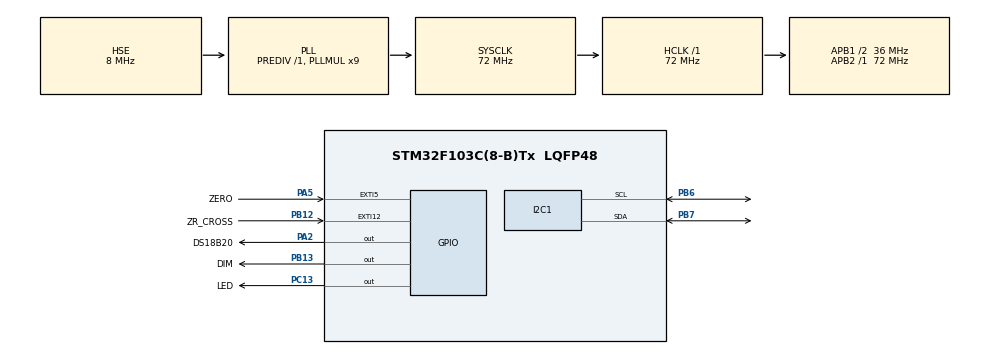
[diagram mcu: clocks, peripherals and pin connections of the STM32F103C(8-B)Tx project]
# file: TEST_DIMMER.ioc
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Mcu.Family=STM32F1
Mcu.Name=STM32F103C(8-B)Tx
Mcu.Package=LQFP48
NVIC.EXTI15_10_IRQn=true\:0\:0\:false\:false\:true\:true\:true\:true
NVIC.EXTI9_5_IRQn=true\:0\:0\:false\:false\:true\:true\:true\:true
NVIC.I2C1_ER_IRQn=true\:0\:0\:false\:false\:true\:true\:true\:true
NVIC.I2C1_EV_IRQn=true\:0\:0\:false\:false\:true\:true\:true\:true
NVIC.PriorityGroup=NVIC_PRIORITYGROUP_4
NVIC.TIM2_IRQn=true\:0\:0\:false\:false\:true\:true\:true\:true
NVIC.TIM3_IRQn=true\:0\:0\:false\:false\:true\:true\:true\:true
NVIC.TIM4_IRQn=true\:0\:0\:false\:false\:true\:true\:true\:true
PA13.Mode=Serial_Wire
PA13.Signal=SYS_JTMS-SWDIO
PA14.Mode=Serial_Wire
PA14.Signal=SYS_JTCK-SWCLK
PA2.GPIO_Label=DS18B20
PA2.Signal=GPIO_Output
PA5.GPIO_Label=ZERO
PA5.Signal=GPXTI5
PB12.GPIO_Label=ZR_CROSS
PB12.GPIO_ModeDefaultEXTI=GPIO_MODE_IT_FALLING
PB12.GPIO_PuPd=GPIO_NOPULL
PB12.Signal=GPXTI12
PB13.GPIO_Label=DIM
PB13.Signal=GPIO_Output
PB6.Mode=I2C
PB6.Signal=I2C1_SCL
PB7.Mode=I2C
PB7.Signal=I2C1_SDA
PC13-TAMPER-RTC.GPIO_Label=LED
PC13-TAMPER-RTC.Signal=GPIO_Output
PD0-OSC_IN.Mode=HSE-External-Oscillator
PD0-OSC_IN.Signal=RCC_OSC_IN
PD1-OSC_OUT.Mode=HSE-External-Oscillator
PD1-OSC_OUT.Signal=RCC_OSC_OUT
ProjectManager.HeapSize=0x200
ProjectManager.StackSize=0x400
ProjectManager.TargetToolchain=MDK-ARM V5.32
RCC.AHBFreq_Value=72000000
RCC.APB1CLKDivider=RCC_HCLK_DIV2
RCC.APB1Freq_Value=36000000
RCC.APB1TimFreq_Value=72000000
RCC.APB2Freq_Value=72000000
RCC.APB2TimFreq_Value=72000000
RCC.HCLKFreq_Value=72000000
RCC.PLLMUL=RCC_PLL_MUL9
RCC.PLLSourceVirtual=RCC_PLLSOURCE_HSE
RCC.SYSCLKFreq_VALUE=72000000
RCC.SYSCLKSource=RCC_SYSCLKSOURCE_PLLCLK
RCC.USBFreq_Value=72000000
TIM2.Period=20000-1
TIM2.Prescaler=720-1
TIM3.AutoReloadPreload=TIM_AUTORELOAD_PRELOAD_ENABLE
TIM3.Period=6666-1
TIM3.Prescaler=72-1
TIM4.Period=0xffff-1
TIM4.Prescaler=72-1
VP_TIM2_VS_ClockSourceINT.Mode=Internal
VP_TIM3_VS_ClockSourceINT.Mode=Internal
VP_TIM4_VS_ClockSourceINT.Mode=Internal
board=custom

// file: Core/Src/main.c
/* USER CODE BEGIN Header */
/**
  ******************************************************************************
  * @file           : main.c
  * @brief          : Main program body
  ******************************************************************************
  * @attention
  *
  * Copyright (c) 2024 STMicroelectronics.
  * All rights reserved.
  *
  * This software is licensed under terms that can be found in the LICENSE file
  * in the root directory of this software component.
  * If no LICENSE file comes with this software, it is provided AS-IS.
  *
  ******************************************************************************
  */
/* USER CODE END Header */
#include "main.h"
#include "i2c.h"
#include "tim.h"
#include "gpio.h"

/* USER CODE BEGIN Includes */
#include "stdbool.h"
#include "DS18B20.h"
#include "i2c-lcd.h"
#include "delay_timer.h"
#include "stdio.h"
#include "string.h"
/* USER CODE END Includes */

/* USER CODE BEGIN PV */
DS18B20_Name ds18b20;
CLCD_I2C_Name lcd;
/* USER CODE END PV */

void SystemClock_Config(void);

/* USER CODE BEGIN 0 */
#define SAMPLING_TIME 200
typedef struct
{
	uint8_t setPoint;
	float kp;
	float ki;
	float kd;
	float prevError;
	float error;
	float P;
	float I;
	float D;
}PID_t;
volatile PID_t pid;
volatile uint16_t total;
char data[16];
volatile bool zero = true;
volatile uint16_t i = 0;
volatile uint16_t dim;
volatile uint64_t zero_cross;
long map(long x, long in_min, long in_max, long out_min, long out_max) {
  return (x - in_min) * (out_max - out_min) / (in_max - in_min) + out_min;
}
void HAL_GPIO_EXTI_Callback(uint16_t GPIO_Pin)
{
	zero = true;
	i = 0;
	HAL_GPIO_WritePin(DIM_GPIO_Port, DIM_Pin, 0);

}
void HAL_TIM_PeriodElapsedCallback(TIM_HandleTypeDef *htim) {
	if(htim->Instance == htim3.Instance)		// 75hz
	{
		if(zero == false)
		{
				i++;
				if(i >= dim)
				{
						HAL_GPIO_WritePin(DIM_GPIO_Port, DIM_Pin, 1);
						zero = true;
				}
		}
		else if(zero == true)
		{
					HAL_GPIO_WritePin(DIM_GPIO_Port, DIM_Pin, 0);
					zero = false;
					i = 0;
		}
	}
	else if(htim->Instance == htim2.Instance)			// 200ms
	{
//			HAL_GPIO_TogglePin(LED_GPIO_Port, LED_Pin);
			pid.error = pid.setPoint -  ds18b20.Temp;

			pid.P = pid.kp * pid.error;
			pid.I += pid.ki * pid.error;
			if(pid.I >= 128)
				pid.I = 128;
			else if (pid.I < 0)
			{
				pid.I = 0;
			}
			pid.D = pid.kd * ((pid.error - pid.prevError) / SAMPLING_TIME);

			total = pid.P + pid.I + pid.D;
			pid.prevError = pid.error;
			if(total > 128)
			{
				total = 128;
			}
			else if (total < 0)
			{
				total = 0;
			}

			dim = map(total, 0, 128, 128, 0);
	}
}
/* USER CODE END 0 */

int main(void)
{

  /* MCU Configuration--------------------------------------------------------*/

  /* Reset of all peripherals, Initializes the Flash interface and the Systick. */
  HAL_Init();

  /* Configure the system clock */
  SystemClock_Config();

  /* Initialize all configured peripherals */
  MX_GPIO_Init();
  MX_TIM3_Init();
  MX_TIM4_Init();
  MX_I2C1_Init();
  MX_TIM2_Init();
  /* USER CODE BEGIN 2 */
	//HAL_TIM_Base_Start_IT(&htim2);
	HAL_TIM_Base_Start_IT(&htim3);
	//DS18B20_Init(&ds18b20, &htim4, DS18B20_GPIO_Port, DS18B20_Pin);
	//CLCD_I2C_Init(&lcd,&hi2c1,0x4e,16,2);
	//CLCD_I2C_Clear(&lcd);
	pid.kp = 10;
	pid.ki = 0.5;
	pid.kd = 0;
	pid.setPoint = 30;

//	DELAY_TIM_Init(&htim4);
  /* USER CODE END 2 */

  /* Infinite loop */
  /* USER CODE BEGIN WHILE */
  while (1)
  {
//		dim = 30;
//		HAL_Delay(5000);
//		dim = 0;
//		HAL_Delay(5000);
//		dim += 50;
//		if(dim >= 1000)
//		{
//			dim = 0;
//		}
//		HAL_Delay(100);
		//DS18B20_ReadTemp(&ds18b20);
		//sprintf(data , "T:%.1f-Dim:%d", ds18b20.Temp, dim);
		//CLCD_I2C_SetCursor(&lcd, 0,0);
		//CLCD_I2C_WriteString(&lcd, data);
		//HAL_GPIO_TogglePin(DIM_GPIO_Port, DIM_Pin);
//		HAL_GPIO_WritePin(DIM_GPIO_Port, DIM_Pin, 0);
//		HAL_Delay(1);
//		HAL_GPIO_WritePin(DIM_GPIO_Port, DIM_Pin, 1);
//		HAL_Delay(1);
    /* USER CODE END WHILE */

  }
}

void SystemClock_Config(void)
{
  RCC_OscInitTypeDef RCC_OscInitStruct = {0};
  RCC_ClkInitTypeDef RCC_ClkInitStruct = {0};

  /** Initializes the RCC Oscillators according to the specified parameters
  * in the RCC_OscInitTypeDef structure.
  */
  RCC_OscInitStruct.OscillatorType = RCC_OSCILLATORTYPE_HSE;
  RCC_OscInitStruct.HSEState = RCC_HSE_ON;
  RCC_OscInitStruct.HSEPredivValue = RCC_HSE_PREDIV_DIV1;
  RCC_OscInitStruct.HSIState = RCC_HSI_ON;
  RCC_OscInitStruct.PLL.PLLState = RCC_PLL_ON;
  RCC_OscInitStruct.PLL.PLLSource = RCC_PLLSOURCE_HSE;
  RCC_OscInitStruct.PLL.PLLMUL = RCC_PLL_MUL9;
  if (HAL_RCC_OscConfig(&RCC_OscInitStruct) != HAL_OK)
  {
    Error_Handler();
  }

  /** Initializes the CPU, AHB and APB buses clocks
  */
  RCC_ClkInitStruct.ClockType = RCC_CLOCKTYPE_HCLK|RCC_CLOCKTYPE_SYSCLK
                              |RCC_CLOCKTYPE_PCLK1|RCC_CLOCKTYPE_PCLK2;
  RCC_ClkInitStruct.SYSCLKSource = RCC_SYSCLKSOURCE_PLLCLK;
  RCC_ClkInitStruct.AHBCLKDivider = RCC_SYSCLK_DIV1;
  RCC_ClkInitStruct.APB1CLKDivider = RCC_HCLK_DIV2;
  RCC_ClkInitStruct.APB2CLKDivider = RCC_HCLK_DIV1;

  if (HAL_RCC_ClockConfig(&RCC_ClkInitStruct, FLASH_LATENCY_2) != HAL_OK)
  {
    Error_Handler();
  }
}

void Error_Handler(void)
{
  __disable_irq();
  while (1)
  {
  }
}
